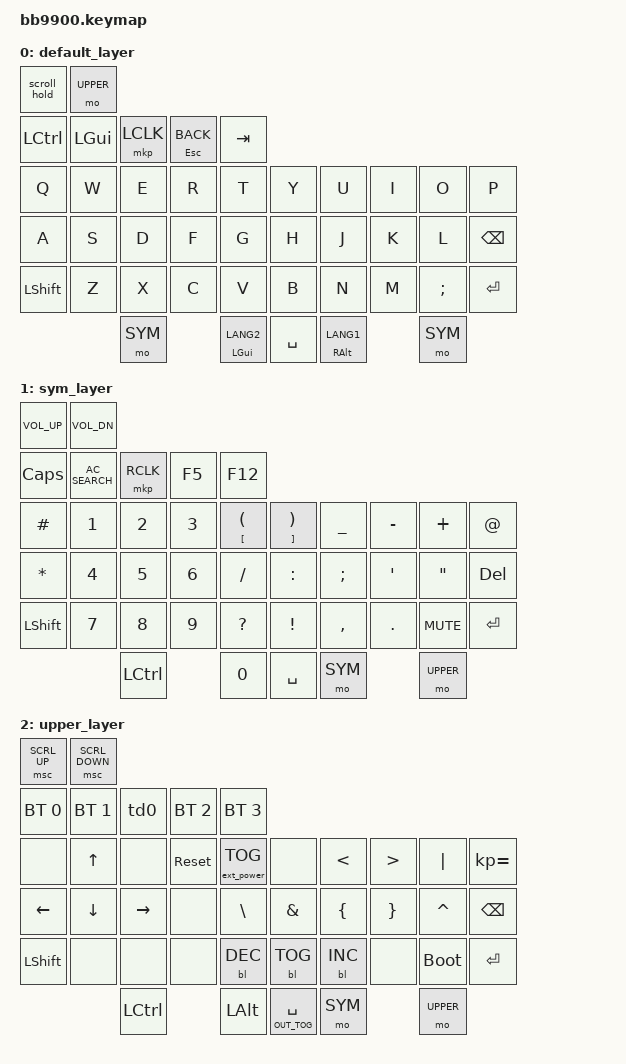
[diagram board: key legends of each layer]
/*
 * Copyright (c) 2023 ZitaoTech
 *
 * SPDX-License-Identifier: MIT
 */

#include <behaviors.dtsi>
#include <dt-bindings/zmk/backlight.h>
#include <dt-bindings/zmk/bt.h>
#include <dt-bindings/zmk/ext_power.h>
#include <dt-bindings/zmk/keys.h>
#include <dt-bindings/zmk/mouse.h>
#include <dt-bindings/zmk/outputs.h>

#define SYM 1
#define UPPER 2

/ {
    behaviors {
        td0: tap_dance_0 {
            compatible = "zmk,behavior-tap-dance";
            #binding-cells = <0>;
            tapping-term-ms = <400>;
            bindings = <&mkp LCLK>, <&bt BT_CLR>;
        };
    };

    behaviors {
        hm: homerow_mods {
            compatible = "zmk,behavior-hold-tap";
            #binding-cells = <2>;
            tapping-term-ms = <500>;
            bindings = <&out &kp>;
        };
    };

    behaviors {
        // Tap: the key (英数 / かな). Hold with another key: the modifier.
        // "balanced" keeps fast typing rolls as taps.
        lang_mt: lang_mod_tap {
            compatible = "zmk,behavior-hold-tap";
            #binding-cells = <2>;
            flavor = "balanced";
            tapping-term-ms = <200>;
            bindings = <&kp>, <&kp>;
        };
    };

    macros {
        // Hold to scroll: taps Caps Lock on press and again on release.
        // The trackpad scrolls while the host reports Caps Lock on.
        scroll_hold: scroll_hold {
            compatible = "zmk,behavior-macro";
            #binding-cells = <0>;
            wait-ms = <0>;
            tap-ms = <150>;
            bindings
                = <&macro_tap &kp CAPS>
                , <&macro_pause_for_release>
                , <&macro_tap &kp CAPS>
                ;
        };
    };

    keymap {
        compatible = "zmk,keymap";

        default_layer {
            bindings = <
&scroll_hold    &mo UPPER
&kp LCTRL       &kp LGUI   &mkp LCLK  &mt ESC K_BACK  &kp TAB
&kp Q           &kp W      &kp E      &kp R           &kp T             &kp Y        &kp U     &kp I      &kp O     &kp P
&kp A           &kp S      &kp D      &kp F           &kp G             &kp H        &kp J     &kp K      &kp L     &kp BSPC
&kp LEFT_SHIFT  &kp Z      &kp X      &kp C           &kp V             &kp B        &kp N     &kp M      &kp SEMI  &kp ENTER
                           &mo SYM                    &lang_mt LGUI LANG2  &kp SPACE    &lang_mt RALT LANG1  &mo SYM
            >;
        };

        sym_layer {
            bindings = <
&kp C_VOL_UP  &kp C_VOL_DN
&kp CAPS      &kp C_AC_SEARCH  &mkp RCLK  &kp F5  &kp F12
&kp HASH      &kp N1           &kp N2     &kp N3  &mt LBKT LPAR  &mt RBKT RPAR    &kp UNDER  &kp MINUS  &kp PLUS    &kp AT
&kp STAR      &kp N4           &kp N5     &kp N6  &kp SLASH      &kp COLON        &kp SEMI   &kp APOS   &kp DQT     &kp DEL
&kp LSHFT     &kp N7           &kp N8     &kp N9  &kp QMARK      &kp EXCL         &kp COMMA  &kp DOT    &kp C_MUTE  &kp ENTER
                               &kp LCTRL          &kp N0         &kp SPACE        &mo SYM    &mo UPPER
            >;
        };

        upper_layer {
            bindings = <
&msc SCRL_UP  &msc SCRL_DOWN
&bt BT_SEL 0  &bt BT_SEL 1    &td0       &bt BT_SEL 2  &bt BT_SEL 3
&none         &kp UP          &none      &sys_reset    &ext_power EP_TOG  &none                &kp LT      &kp GT     &kp PIPE     &kp KP_EQUAL
&kp LEFT      &kp DOWN        &kp RIGHT  &none         &kp BSLH           &kp AMPS             &kp LBRC    &kp RBRC   &kp CARET    &kp BSPC
&kp LSHFT     &none           &none      &none         &bl BL_DEC         &bl BL_TOG           &bl BL_INC  &none      &bootloader  &kp ENTER
                              &kp LCTRL                &kp LALT           &hm OUT_TOG SPACE    &mo SYM     &mo UPPER
            >;
        };
    };
};
